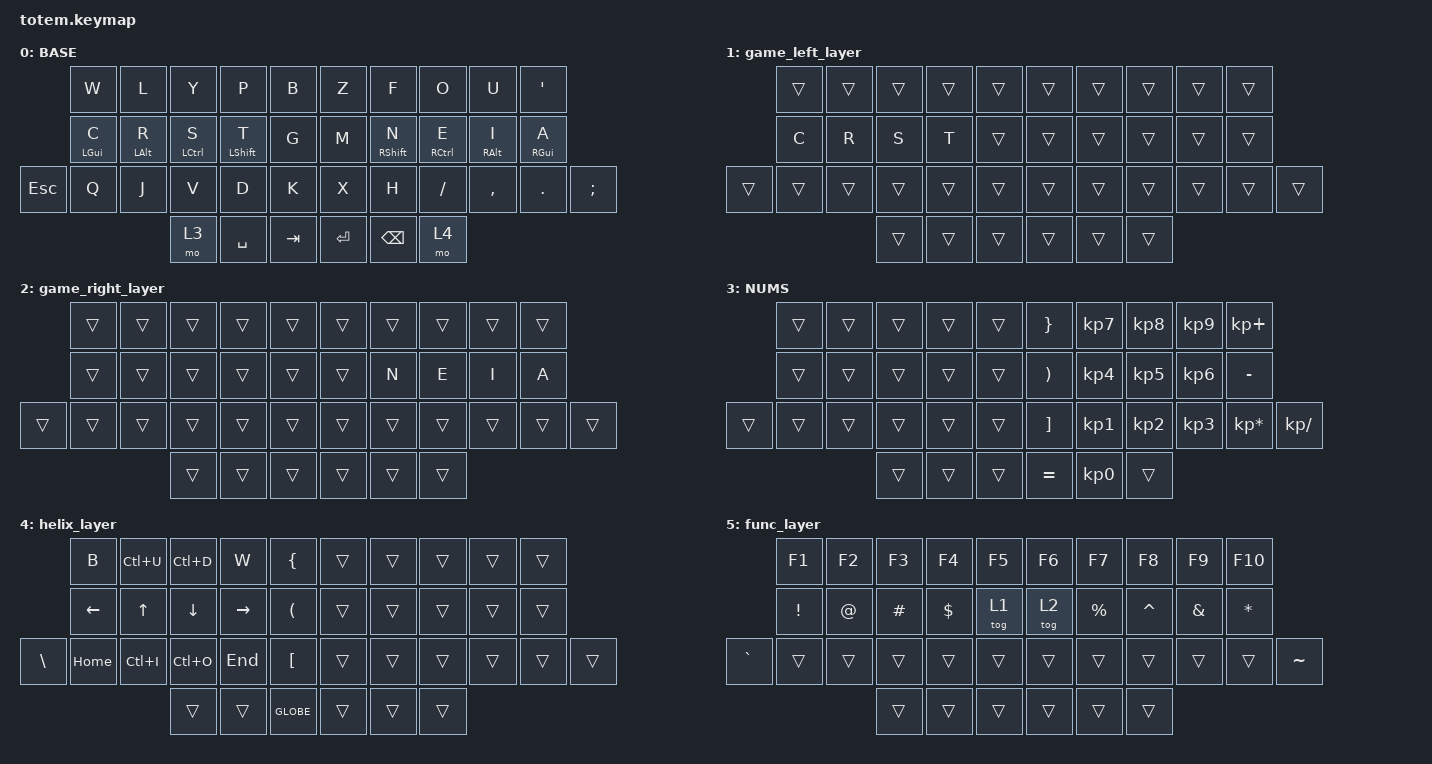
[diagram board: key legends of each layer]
//
//                                                        ▀▀▀▀▀     ▀▀▀▀▀          ▀▀█▀▀
//                                                        ▄▀▀▀▄  ▄  ▄▀▀▀▄  ▄  ▄▀▀▀▄  █  ▄▀▀▀▄
//                                                        █   █  █  █   █  █  █   █  █  █   █
//                                                         ▀▀▀   █   ▀▀▀   █   ▀▀▀   ▀   ▀▀▀
//                                                               █      ▄▄▄█▄▄▄    █   █  
//                                                               ▀      █  █  █     █▄█
//                                                             ▀▀▀▀▀    █  █  █      ▀
//                                                                      ▀  ▀  ▀
//
// ▄▄▄▄▄▄▄▄▄▄▄▄▄▄▄▄▄▄▄▄▄▄▄▄▄▄▄▄▄▄▄▄▄▄▄▄▄▄▄▄▄▄▄▄▄▄▄▄▄▄▄▄▄▄▄▄▄▄▄▄▄▄▄▄▄▄▄▄▄▄▄▄▄▄▄▄▄▄▄▄▄▄▄▄▄▄▄▄▄▄▄▄▄▄▄▄▄▄▄▄▄▄▄▄▄▄▄▄▄▄▄▄▄▄▄▄▄▄▄▄▄▄▄▄▄▄▄▄▄▄▄▄▄▄▄▄▄▄▄▄▄▄▄▄▄▄▄▄▄

#include <behaviors.dtsi>
#include <dt-bindings/zmk/keys.h>

#define BASE 0
#define NAV  1
#define SYM  2
#define ADJ  3
#define TVP1 4
#define TVP2 5

&mt {
    flavor = "tap-preferred";
    tapping-term-ms = <200>;
};

/ {
    combos { compatible = "zmk,combos"; };

    keymap {
        compatible = "zmk,keymap";

        // ▄▄▄▄▄▄▄▄▄▄▄▄▄▄▄▄▄▄▄▄▄▄▄▄▄▄▄▄▄▄▄▄▄▄▄▄▄▄▄▄▄▄▄▄▄▄▄▄▄▄▄▄▄▄▄▄▄▄▄▄▄▄▄▄▄▄▄▄▄▄▄▄▄▄▄▄▄▄▄▄▄▄▄▄▄▄▄▄▄▄▄▄▄▄▄▄▄▄▄▄▄▄▄▄▄▄▄▄▄▄▄▄▄▄▄▄▄▄▄▄▄▄▄▄▄▄▄▄▄▄▄▄▄▄▄▄▄▄▄▄▄▄▄▄▄▄▄▄▄

        base_layer {
            // ┏━━━━━━━━━━━━━━━━━━━━━━━━━━━━━━━━━━━━━━━┓

            label = "BASE";

            // ┗━━━━━━━━━━━━━━━━━━━━━━━━━━━━━━━━━━━━━━━┛
            //             ┏━━━━━━━━━━━┳━━━━━━━━━━━┳━━━━━━━━━━━┳━━━━━━━━━━━┳━━━━━━━━━━━┓   ┏━━━━━━━━━━━┳━━━━━━━━━━━┳━━━━━━━━━━━┳━━━━━━━━━━━┳━━━━━━━━━━━┓
            //             ┃     Q     ┃     W     ┃     F     ┃     P     ┃     G     ┃   ┃     J     ┃     L     ┃     U     ┃     Y     ┃     ;     ┃
            //             ┣━━━━━━━━━━━╋━━━━━━━━━━━╋━━━━━━━━━━━╋━━━━━━━━━━━╋━━━━━━━━━━━┫   ┣━━━━━━━━━━━╋━━━━━━━━━━━╋━━━━━━━━━━━╋━━━━━━━━━━━╋━━━━━━━━━━━┫
            //             ┃     A     ┃     R     ┃     S     ┃     T     ┃     D     ┃   ┃     H     ┃     N     ┃     E     ┃     I     ┃     O     ┃
            // ┏━━━━━━━━━━━╋━━━━━━━━━━━╋━━━━━━━━━━━╋━━━━━━━━━━━╋━━━━━━━━━━━╋━━━━━━━━━━━┫   ┣━━━━━━━━━━━╋━━━━━━━━━━━╋━━━━━━━━━━━╋━━━━━━━━━━━╋━━━━━━━━━━━╋━━━━━━━━━━━┓
            // ┃     Q     ┃     Z     ┃     X     ┃     C     ┃     V     ┃     B     ┃   ┃     K     ┃     M     ┃     ,     ┃     .     ┃     /     ┃     \     ┃
            // ┗━━━━━━━━━━━┻━━━━━━━━━━━┻━━━━━━━━━━━╋━━━━━━━━━━━╋━━━━━━━━━━━╋━━━━━━━━━━━┫   ┣━━━━━━━━━━━╋━━━━━━━━━━━╋━━━━━━━━━━━╋━━━━━━━━━━━┻━━━━━━━━━━━┻━━━━━━━━━━━┛
            //                                     ┃    DEL    ┃    TAB    ┃    SPC    ┃   ┃   ENTER   ┃           ┃   BSPC    ┃
            //                                     ┗━━━━━━━━━━━┻━━━━━━━━━━━┻━━━━━━━━━━━┛   ┗━━━━━━━━━━━┻━━━━━━━━━━━┻━━━━━━━━━━━┛

            bindings = <
         &kp W       &kp L       &kp Y        &kp P        &kp B      &kp Z      &kp F          &kp O        &kp U       &kp SQT
         &mt LGUI C  &mt LALT R  &mt LCTRL S  &mt LSHFT T  &kp G      &kp M      &mt RSHFT N    &mt RCTRL E  &mt RALT I  &mt RGUI A
&kp ESC  &kp Q       &kp J       &kp V        &kp D        &kp K      &kp X      &kp H          &kp SLASH    &kp COMMA   &kp PERIOD  &kp SEMICOLON
                                 &mo 3        &kp SPACE    &kp TAB    &kp ENTER  &kp BACKSPACE  &mo 4
            >;
        };

        game_left_layer {
            bindings = <
        &trans  &trans  &trans  &trans  &trans    &trans  &trans  &trans  &trans  &trans
        &kp C   &kp R   &kp S   &kp T   &trans    &trans  &trans  &trans  &trans  &trans
&trans  &trans  &trans  &trans  &trans  &trans    &trans  &trans  &trans  &trans  &trans  &trans
                        &trans  &trans  &trans    &trans  &trans  &trans
            >;
        };

        game_right_layer {
            bindings = <
        &trans  &trans  &trans  &trans  &trans    &trans  &trans  &trans  &trans  &trans
        &trans  &trans  &trans  &trans  &trans    &trans  &kp N   &kp E   &kp I   &kp A
&trans  &trans  &trans  &trans  &trans  &trans    &trans  &trans  &trans  &trans  &trans  &trans
                        &trans  &trans  &trans    &trans  &trans  &trans
            >;
        };

        num_layer {
            // ┏━━━━━━━━━━━━━━━━━━━━━━━━━━━━━━━━━━━━━━━┓

            label = "NUMS";

            // ┗━━━━━━━━━━━━━━━━━━━━━━━━━━━━━━━━━━━━━━━┛
            //             ┏━━━━━━━━━━━┳━━━━━━━━━━━┳━━━━━━━━━━━┳━━━━━━━━━━━┳━━━━━━━━━━━┓   ┏━━━━━━━━━━━┳━━━━━━━━━━━┳━━━━━━━━━━━┳━━━━━━━━━━━┳━━━━━━━━━━━┓
            //             ┃           ┃           ┃     UP    ┃           ┃     {     ┃   ┃     }     ┃     7     ┃     8     ┃     9     ┃     +     ┃
            //             ┣━━━━━━━━━━━╋━━━━━━━━━━━╋━━━━━━━━━━━╋━━━━━━━━━━━╋━━━━━━━━━━━┫   ┣━━━━━━━━━━━╋━━━━━━━━━━━╋━━━━━━━━━━━╋━━━━━━━━━━━╋━━━━━━━━━━━┫
            //             ┃   SHIFT   ┃   LEFT    ┃    DOWN   ┃   RIGHT   ┃     [     ┃   ┃     ]     ┃     4     ┃     5     ┃     6     ┃     -     ┃
            // ┏━━━━━━━━━━━╋━━━━━━━━━━━╋━━━━━━━━━━━╋━━━━━━━━━━━╋━━━━━━━━━━━╋━━━━━━━━━━━┫   ┣━━━━━━━━━━━╋━━━━━━━━━━━╋━━━━━━━━━━━╋━━━━━━━━━━━╋━━━━━━━━━━━╋━━━━━━━━━━━┓
            // ┃           ┃           ┃   P UP    ┃  C LOCK   ┃  P DOWN   ┃     (     ┃   ┃     )     ┃     1     ┃     2     ┃     3     ┃     *     ┃           ┃
            // ┗━━━━━━━━━━━┻━━━━━━━━━━━┻━━━━━━━━━━━╋━━━━━━━━━━━╋━━━━━━━━━━━╋━━━━━━━━━━━┫   ┣━━━━━━━━━━━╋━━━━━━━━━━━╋━━━━━━━━━━━╋━━━━━━━━━━━┻━━━━━━━━━━━┻━━━━━━━━━━━┛
            //                                     ┃           ┃    TAB    ┃    SPC    ┃   ┃    DEL    ┃     0     ┃           ┃
            //                                     ┗━━━━━━━━━━━┻━━━━━━━━━━━┻━━━━━━━━━━━┛   ┗━━━━━━━━━━━┻━━━━━━━━━━━┻━━━━━━━━━━━┛

            bindings = <
        &trans  &trans  &trans  &trans  &trans    &kp RBRC               &kp KP_NUMBER_7  &kp KP_NUMBER_8  &kp KP_N9        &kp KP_PLUS
        &trans  &trans  &trans  &trans  &trans    &kp RIGHT_PARENTHESIS  &kp KP_NUMBER_4  &kp KP_NUMBER_5  &kp KP_NUMBER_6  &kp MINUS
&trans  &trans  &trans  &trans  &trans  &trans    &kp RIGHT_BRACKET      &kp KP_NUMBER_1  &kp KP_NUMBER_2  &kp KP_NUMBER_3  &kp KP_MULTIPLY  &kp KP_DIVIDE
                        &trans  &trans  &trans    &kp EQUAL              &kp KP_N0        &trans
            >;
        };

        helix_layer {
            bindings = <
               &kp B     &kp LC(U)  &kp LC(D)  &kp W      &kp LEFT_BRACE          &trans  &trans  &trans  &trans  &trans
               &kp LEFT  &kp UP     &kp DOWN   &kp RIGHT  &kp LEFT_PARENTHESIS    &trans  &trans  &trans  &trans  &trans
&kp BACKSLASH  &kp HOME  &kp LC(I)  &kp LC(O)  &kp END    &kp LEFT_BRACKET        &trans  &trans  &trans  &trans  &trans  &trans
                                    &trans     &trans     &kp GLOBE               &trans  &trans  &trans
            >;
        };

        func_layer {
            bindings = <
           &kp F1           &kp F2       &kp F3    &kp F4      &kp F5    &kp F6  &kp F7       &kp F8     &kp F9         &kp F10
           &kp EXCLAMATION  &kp AT_SIGN  &kp HASH  &kp DOLLAR  &tog 1    &tog 2  &kp PERCENT  &kp CARET  &kp AMPERSAND  &kp ASTERISK
&kp GRAVE  &trans           &trans       &trans    &trans      &trans    &trans  &trans       &trans     &trans         &trans        &kp TILDE
                                         &trans    &trans      &trans    &trans  &trans       &trans
            >;
        };
    };

    conditional_layers {
        compatible = "zmk,conditional-layers";

        merging_mods {
            if-layers = <3 4>;
            then-layer = <5>;
        };
    };
};
